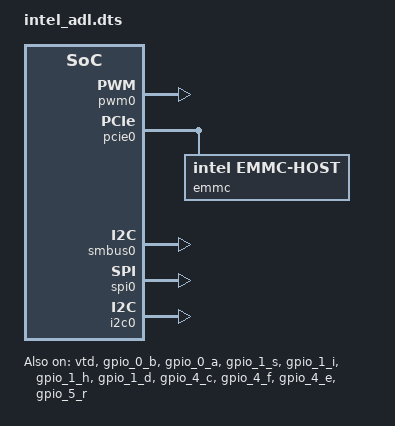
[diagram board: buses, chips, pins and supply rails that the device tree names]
/*
 * Copyright (c) 2023 Intel Corporation
 *
 * SPDX-License-Identifier: Apache-2.0
 */

/dts-v1/;

#include <mem.h>

#define DT_DRAM_SIZE		DT_SIZE_M(2048)

#include <intel/x86_64.dtsi>

/ {
	chosen {
		zephyr,sram = &dram0;
	};

	aliases {
		watchdog0 = &tco_wdt;
		sdhc0 = &emmc;
	};

	soc {
		pwm0: pwm0@fd6d0000 {
			compatible = "intel,blinky-pwm";
			reg = <0xfd6d0000 0x400>;
			reg-offset = <0x204>;
			clock-frequency = <32768>;
			max-pins = <1>;
			#pwm-cells = <2>;

			status = "okay";
		};

		gpio_0_b: gpio@fd6e0700 {
			compatible = "intel,gpio";
			reg = <0xfd6e0700 0x1000>;
			interrupts = <14 IRQ_TYPE_LOWEST_LEVEL_LOW 3>;
			interrupt-parent = <&intc>;

			group-index = <0x0>;
			gpio-controller;
			#gpio-cells = <2>;

			ngpios = <24>;
			pin-offset = <0>;

			status = "okay";
		};

		gpio_0_a: gpio@fd6e09a0 {
			compatible = "intel,gpio";
			reg = <0xfd6e09a0 0x1000>;
			interrupts = <14 IRQ_TYPE_LOWEST_LEVEL_LOW 3>;
			interrupt-parent = <&intc>;

			group-index = <0x2>;
			gpio-controller;
			#gpio-cells = <2>;

			ngpios = <24>;
			pin-offset = <41>;

			status = "okay";
		};

		gpio_1_s: gpio@fd6d0700 {
			compatible = "intel,gpio";
			reg = <0xfd6d0700 0x1000>;
			interrupts = <14 IRQ_TYPE_LOWEST_LEVEL_LOW 3>;
			interrupt-parent = <&intc>;

			group-index = <0x0>;
			gpio-controller;
			#gpio-cells = <2>;

			ngpios = <8>;
			pin-offset = <0>;

			status = "okay";
		};

		gpio_1_i: gpio@fd6d0780 {
			compatible = "intel,gpio";
			reg = <0xfd6d0780 0x1000>;
			interrupts = <14 IRQ_TYPE_LOWEST_LEVEL_LOW 3>;
			interrupt-parent = <&intc>;

			group-index = <0x1>;
			gpio-controller;
			#gpio-cells = <2>;

			ngpios = <19>;
			pin-offset = <8>;

			status = "okay";
		};


		gpio_1_h: gpio@fd6d08c0 {
			compatible = "intel,gpio";
			reg = <0xfd6d08c0 0x1000>;
			interrupts = <14 IRQ_TYPE_LOWEST_LEVEL_LOW 3>;
			interrupt-parent = <&intc>;

			group-index = <0x2>;
			gpio-controller;
			#gpio-cells = <2>;

			ngpios = <24>;
			pin-offset = <25>;

			status = "okay";
		};

		gpio_1_d: gpio@fd6d0a40 {
			compatible = "intel,gpio";
			reg = <0xfd6d0a40 0x1000>;
			interrupts = <14 IRQ_TYPE_LOWEST_LEVEL_LOW 3>;
			interrupt-parent = <&intc>;

			group-index = <0x3>;
			gpio-controller;
			#gpio-cells = <2>;

			ngpios = <20>;
			pin-offset = <49>;

			status = "okay";
		};

		gpio_4_c: gpio@fd6a0700 {
			compatible = "intel,gpio";
			reg = <0xfd6a0700 0x1000>;
			interrupts = <14 IRQ_TYPE_LOWEST_LEVEL_LOW 3>;
			interrupt-parent = <&intc>;

			group-index = <0x0>;
			gpio-controller;
			#gpio-cells = <2>;

			ngpios = <8>;
			pin-offset = <0>;

			status = "okay";
		};

		gpio_4_f: gpio@fd6a0880 {
			compatible = "intel,gpio";
			reg = <0xfd6a0880 0x1000>;
			interrupts = <14 IRQ_TYPE_LOWEST_LEVEL_LOW 3>;
			interrupt-parent = <&intc>;

			group-index = <0x1>;
			gpio-controller;
			#gpio-cells = <2>;

			ngpios = <24>;
			pin-offset = <24>;

			status = "okay";
		};

		gpio_4_e: gpio@fd6a0a70 {
			compatible = "intel,gpio";
			reg = <0xfd6a0a70 0x1000>;
			interrupts = <14 IRQ_TYPE_LOWEST_LEVEL_LOW 3>;
			interrupt-parent = <&intc>;

			group-index = <0x3>;
			gpio-controller;
			#gpio-cells = <2>;

			ngpios = <24>;
			pin-offset = <57>;

			status = "okay";
		};

		gpio_5_r: gpio@fd690700 {
			compatible = "intel,gpio";
			reg = <0xfd690700 0x1000>;
			interrupts = <14 IRQ_TYPE_LOWEST_LEVEL_LOW 3>;
			interrupt-parent = <&intc>;

			group-index = <0x0>;
			gpio-controller;
			#gpio-cells = <2>;

			ngpios = <8>;
			pin-offset = <0>;

			status = "okay";
		};
	};
};

&pcie0 {
	emmc: emmc0 {
		compatible = "intel,emmc-host";
		vendor-id = <0x8086>;
		device-id = <0x54C4>;
		interrupts = <PCIE_IRQ_DETECT IRQ_TYPE_LOWEST_LEVEL_LOW 3>;
		interrupt-parent = <&intc>;

		max-bus-freq = <200000000>;
		min-bus-freq = <400000>;
		power-delay-ms = <500>;
		mmc-hs400-1_8v;
		mmc-hs200-1_8v;

		mmc {
			compatible = "zephyr,mmc-disk";
			bus-width = <8>;
			status = "okay";
		};

		status = "okay";
	};
};

&smbus0 {
	vendor-id = <0x8086>;
	device-id = <0x54a3>;

	status = "okay";
};

&uart0 {
	vendor-id = <0x8086>;
	device-id = <0x54a8>;

	status = "disabled";
};

&uart1 {
	vendor-id = <0x8086>;
	device-id = <0x54A9>;

	status = "disabled";
};

&uart2 {
	vendor-id = <0x8086>;
	device-id = <0x54C7>;

	status = "disabled";
};

&spi0 {
	vendor-id = <0x8086>;
	device-id = <0x54aa>;
	cs-gpios = <&gpio_4_e 10 GPIO_ACTIVE_LOW>;

	status = "okay";
};

&spi1 {
	vendor-id = <0x8086>;
	device-id = <0x54ab>;
	cs-gpios = <&gpio_4_f 16 GPIO_ACTIVE_LOW>;

	status = "disabled";
};

&spi2 {
	vendor-id = <0x8086>;
	device-id = <0x54fb>;
	cs-gpios = <&gpio_1_d 9 GPIO_ACTIVE_LOW>;

	status = "disabled";
};

&i2c0 {
	vendor-id = <0x8086>;
	device-id = <0x54e8>;

	status = "okay";
};

&i2c1 {
	vendor-id = <0x8086>;
	device-id = <0x54e9>;

	status = "disabled";
};

&i2c2 {
	vendor-id = <0x8086>;
	device-id = <0x54ea>;

	status = "disabled";
};

&i2c3 {
	vendor-id = <0x8086>;
	device-id = <0x54eb>;

	status = "disabled";
};

&i2c4 {
	vendor-id = <0x8086>;
	device-id = <0x54c5>;

	status = "disabled";
};

&i2c5 {
	vendor-id = <0x8086>;
	device-id = <0x54c6>;

	status = "disabled";
};

&tgpio {
	status = "okay";
};

&vtd {
	status = "okay";
};
